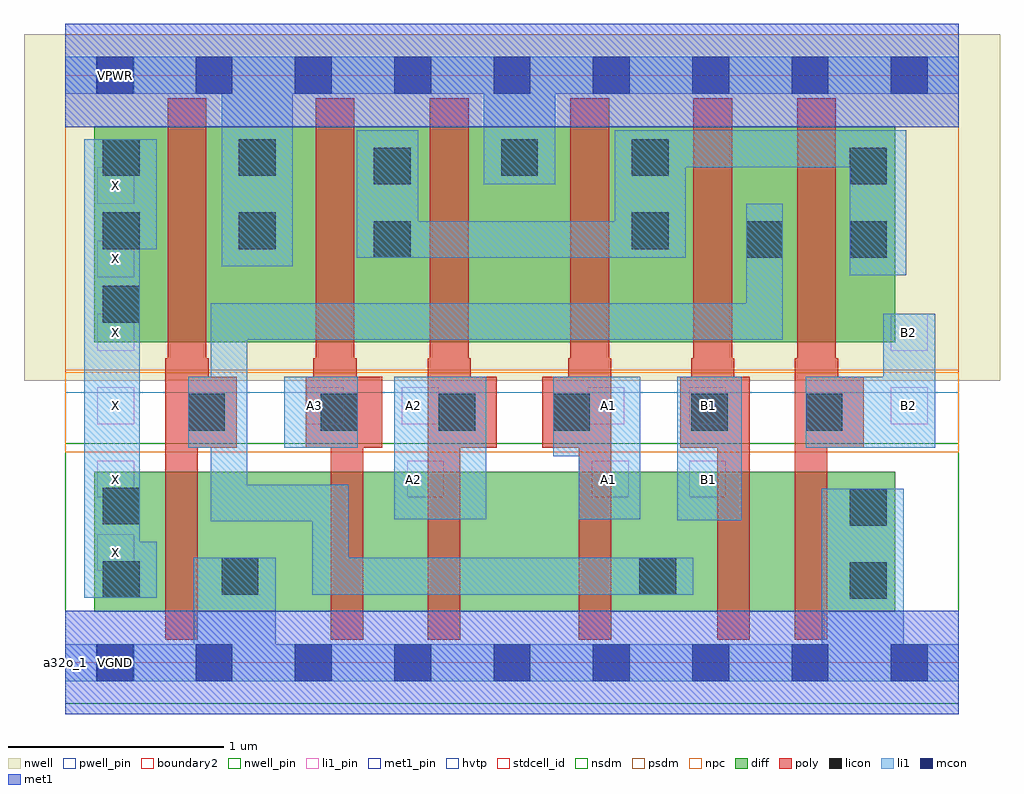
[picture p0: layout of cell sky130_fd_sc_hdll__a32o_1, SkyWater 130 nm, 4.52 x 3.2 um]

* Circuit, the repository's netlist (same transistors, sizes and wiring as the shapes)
* Copyright 2020 The SkyWater PDK Authors
*
* Licensed under the Apache License, Version 2.0 (the "License");
* you may not use this file except in compliance with the License.
* You may obtain a copy of the License at
*
*     https://www.apache.org/licenses/LICENSE-2.0
*
* Unless required by applicable law or agreed to in writing, software
* distributed under the License is distributed on an "AS IS" BASIS,
* WITHOUT WARRANTIES OR CONDITIONS OF ANY KIND, either express or implied.
* See the License for the specific language governing permissions and
* limitations under the License.
*
* SPDX-License-Identifier: Apache-2.0

.SUBCKT sky130_fd_sc_hdll__a32o_1 A1 A2 A3 B1 B2 VGND VNB VPB VPWR X
*.PININFO A1:I A2:I A3:I B1:I B2:I VGND:I VNB:I VPB:I VPWR:I X:O
MMPA0 pndA A1 VPWR VPB sky130_fd_pr__pfet_01v8_hvt m=1 w=1.0U l=0.18U mult=1 sa=0.265
+ sb=0.265 sd=0.28 area=0.063 perim=1.14
MMPA1 pndA A2 VPWR VPB sky130_fd_pr__pfet_01v8_hvt m=1 w=1.0U l=0.18U mult=1 sa=0.265
+ sb=0.265 sd=0.28 area=0.063 perim=1.14
MMPA2 pndA A3 VPWR VPB sky130_fd_pr__pfet_01v8_hvt m=1 w=1.0U l=0.18U mult=1 sa=0.265
+ sb=0.265 sd=0.28 area=0.063 perim=1.14
MMPB0 y B1 pndA VPB sky130_fd_pr__pfet_01v8_hvt m=1 w=1.0U l=0.18U mult=1 sa=0.265
+ sb=0.265 sd=0.28 area=0.063 perim=1.14
MMPB1 y B2 pndA VPB sky130_fd_pr__pfet_01v8_hvt m=1 w=1.0U l=0.18U mult=1 sa=0.265
+ sb=0.265 sd=0.28 area=0.063 perim=1.14
MMIPX X y VPWR VPB sky130_fd_pr__pfet_01v8_hvt m=1 w=1.0U l=0.18U mult=1 sa=0.265
+ sb=0.265 sd=0.28 area=0.063 perim=1.14
MMNA0 y A1 sndA1 VNB sky130_fd_pr__nfet_01v8 m=1 w=0.65U l=0.15U mult=1 sa=0.265
+ sb=0.265 sd=0.28 area=0.063 perim=1.14
MMNA1 sndA1 A2 sndA2 VNB sky130_fd_pr__nfet_01v8 m=1 w=0.65U l=0.15U mult=1 sa=0.265
+ sb=0.265 sd=0.28 area=0.063 perim=1.14
MMNA2 sndA2 A3 VGND VNB sky130_fd_pr__nfet_01v8 m=1 w=0.65U l=0.15U mult=1 sa=0.265
+ sb=0.265 sd=0.28 area=0.063 perim=1.14
MMNB0 y B1 sndB1 VNB sky130_fd_pr__nfet_01v8 m=1 w=0.65U l=0.15U mult=1 sa=0.265
+ sb=0.265 sd=0.28 area=0.063 perim=1.14
MMNB1 sndB1 B2 VGND VNB sky130_fd_pr__nfet_01v8 m=1 w=0.65U l=0.15U mult=1 sa=0.265
+ sb=0.265 sd=0.28 area=0.063 perim=1.14
MMINX X y VGND VNB sky130_fd_pr__nfet_01v8 m=1 w=0.65U l=0.15U mult=1 sa=0.265
+ sb=0.265 sd=0.28 area=0.063 perim=1.14
.ENDS sky130_fd_sc_hdll__a32o_1

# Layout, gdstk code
import gdstk
lib = gdstk.Library(unit=1e-6, precision=1e-09)
def R(c, l, rs):  # rectangles x0, y0, x1, y1
    for r in rs: c.add(gdstk.rectangle(r[:2], r[2:], *l))
def A(c, l, x, y, w, h, nx, ny, dx, dy):  # array of equal rectangles
    R(c, l, [(x+i*dx, y+j*dy, x+i*dx+w, y+j*dy+h) for i in range(nx) for j in range(ny)])
def P(c, l, *ps):  # polygons
    for p in ps: c.add(gdstk.Polygon(p, *l))
nwell_pin = (64, 16)
nwell = (64, 20)
diff = (65, 20)
poly = (66, 20)
licon = (66, 44)
li1_pin = (67, 16)
li1 = (67, 20)
mcon = (67, 44)
met1_pin = (68, 16)
met1 = (68, 20)
hvtp = (78, 44)
stdcell_id = (81, 4)
nsdm = (93, 44)
psdm = (94, 20)
npc = (95, 20)
pwell_pin = (122, 16)
boundary2 = (236, 0)

sky130_fd_sc_hdll__a32o_ = lib.new_cell('sky130_fd_sc_hdll__a32o_1')
R(sky130_fd_sc_hdll__a32o_, nwell_pin, [(0.15,2.635,0.32,2.805)])
R(sky130_fd_sc_hdll__a32o_, nwell, [(-0.19,1.305,4.33,2.91)])
R(sky130_fd_sc_hdll__a32o_, diff, [(0.135,0.235,3.845,0.885), (0.135,1.485,3.845,2.485)])
P(sky130_fd_sc_hdll__a32o_, poly, [(0.795,1.325),(0.665,1.325),(0.665,1.41),(0.655,1.41),(0.655,2.615),(0.475,2.615),(0.475,1.41),(0.465,1.41),(0.465,0.105),(0.615,0.105),(0.615,0.995),(0.795,0.995)],
  [(1.47,1.325),(1.35,1.325),(1.35,1.41),(1.34,1.41),(1.34,2.615),(1.16,2.615),(1.16,1.41),(1.15,1.41),(1.15,1.325),(1.115,1.325),(1.115,0.995),(1.23,0.995),(1.23,0.105),(1.38,0.105),(1.38,0.995),(1.47,0.995)],
  [(2,1.325),(1.88,1.325),(1.88,1.41),(1.87,1.41),(1.87,2.615),(1.69,2.615),(1.69,1.41),(1.68,1.41),(1.68,0.105),(1.83,0.105),(1.83,0.995),(2,0.995)],
  [(2.53,1.41),(2.52,1.41),(2.52,2.615),(2.34,2.615),(2.34,1.41),(2.33,1.41),(2.33,1.325),(2.21,1.325),(2.21,0.995),(2.38,0.995),(2.38,0.105),(2.53,0.105)],
  [(3.17,1.325),(3.1,1.325),(3.1,1.41),(3.09,1.41),(3.09,2.615),(2.91,2.615),(2.91,1.41),(2.9,1.41),(2.9,1.325),(2.85,1.325),(2.85,0.995),(3.02,0.995),(3.02,0.105),(3.17,0.105)],
  [(3.7,1.325),(3.58,1.325),(3.58,1.41),(3.57,1.41),(3.57,2.615),(3.39,2.615),(3.39,1.41),(3.38,1.41),(3.38,0.105),(3.53,0.105),(3.53,0.995),(3.7,0.995)])
A(sky130_fd_sc_hdll__a32o_, licon, 0.175, 1.575, 0.17, 0.17, 1, 3, 0, 0.34)
R(sky130_fd_sc_hdll__a32o_, licon, [(3.635,0.295,3.805,0.465), (0.175,0.3,0.345,0.47), (0.725,0.315,0.895,0.485), (2.66,0.315,2.83,0.485), (3.635,0.635,3.805,0.805), (0.175,0.64,0.345,0.81), (0.57,1.075,0.74,1.245), (1.185,1.075,1.355,1.245), (1.73,1.075,1.9,1.245), (2.26,1.075,2.43,1.245), (2.9,1.075,3.07,1.245), (3.43,1.075,3.6,1.245), (1.43,1.875,1.6,2.045), (3.155,1.875,3.325,2.045), (3.635,1.875,3.805,2.045), (0.805,1.915,0.975,2.085), (2.625,1.915,2.795,2.085), (1.43,2.215,1.6,2.385), (3.635,2.215,3.805,2.385), (0.805,2.255,0.975,2.425), (2.02,2.255,2.19,2.425), (2.625,2.255,2.795,2.425)])
A(sky130_fd_sc_hdll__a32o_, li1_pin, 0.15, 0.425, 0.17, 0.17, 1, 6, 0, 0.34)
R(sky130_fd_sc_hdll__a32o_, li1_pin, [(1.585,0.765,1.755,0.935), (2.44,0.765,2.61,0.935), (2.89,0.765,3.06,0.935), (1.12,1.105,1.29,1.275), (1.56,1.105,1.73,1.275), (2.42,1.105,2.59,1.275), (2.89,1.105,3.06,1.275), (3.825,1.105,3.995,1.275), (3.825,1.445,3.995,1.615)])
R(sky130_fd_sc_hdll__a32o_, li1, [(2.835,0.66,3.135,1.325), (1.525,0.665,1.95,1.325), (1.015,0.995,1.355,1.325)])
P(sky130_fd_sc_hdll__a32o_, li1, [(0.425,0.56),(0.345,0.56),(0.345,1.915),(0.425,1.915),(0.425,2.425),(0.09,2.425),(0.09,0.3),(0.425,0.3)],
  [(4.03,1.615),(3.79,1.615),(3.79,1.325),(3.43,1.325),(3.43,0.995),(4.03,0.995)],
  [(3.325,2.125),(3.155,2.125),(3.155,1.665),(0.675,1.665),(0.675,1.325),(0.57,1.325),(0.57,0.995),(0.675,0.995),(0.675,0.655),(1.145,0.655),(1.145,0.315),(2.91,0.315),(2.91,0.485),(1.315,0.485),(1.315,0.825),(0.845,0.825),(0.845,1.495),(3.325,1.495)],
  [(4.14,2.805),(0,2.805),(0,2.635),(0.725,2.635),(0.725,1.835),(1.055,1.835),(1.055,2.635),(1.94,2.635),(1.94,2.215),(2.27,2.215),(2.27,2.635),(4.14,2.635)],
  [(4.14,0.085),(3.885,0.085),(3.885,0.805),(3.505,0.805),(3.505,0.085),(0.975,0.085),(0.975,0.485),(0.595,0.485),(0.595,0.085),(0,0.085),(0,-0.085),(4.14,-0.085)],
  [(3.895,2.465),(2.545,2.465),(2.545,2.045),(1.635,2.045),(1.635,2.465),(1.35,2.465),(1.35,1.875),(2.875,1.875),(2.875,2.295),(3.635,2.295),(3.635,1.795),(3.895,1.795)],
  [(2.665,1.325),(2.26,1.325),(2.26,0.955),(2.38,0.955),(2.38,0.665),(2.665,0.665)])
A(sky130_fd_sc_hdll__a32o_, mcon, 0.145, -0.085, 0.17, 0.17, 9, 2, 0.46, 2.72)
R(sky130_fd_sc_hdll__a32o_, met1_pin, [(0.15,-0.085,0.32,0.085), (0.15,2.635,0.32,2.805)])
R(sky130_fd_sc_hdll__a32o_, met1, [(0,-0.24,4.14,0.24), (0,2.48,4.14,2.96)])
R(sky130_fd_sc_hdll__a32o_, hvtp, [(0,1.25,4.14,2.72)])
R(sky130_fd_sc_hdll__a32o_, stdcell_id, [(0,0,4.14,2.72)])
R(sky130_fd_sc_hdll__a32o_, nsdm, [(0,-0.19,4.14,1.015)])
R(sky130_fd_sc_hdll__a32o_, psdm, [(0,1.355,4.14,2.91)])
R(sky130_fd_sc_hdll__a32o_, npc, [(0,0.975,4.14,1.345)])
R(sky130_fd_sc_hdll__a32o_, pwell_pin, [(0.15,-0.085,0.32,0.085)])
R(sky130_fd_sc_hdll__a32o_, boundary2, [(0,0,4.14,2.72)])
sky130_fd_sc_hdll__a32o_.add(gdstk.Label('X', (0.235,0.51), layer=67, texttype=5))
sky130_fd_sc_hdll__a32o_.add(gdstk.Label('X', (0.235,0.85), layer=67, texttype=5))
sky130_fd_sc_hdll__a32o_.add(gdstk.Label('X', (0.235,1.53), layer=67, texttype=5))
sky130_fd_sc_hdll__a32o_.add(gdstk.Label('X', (0.235,1.87), layer=67, texttype=5))
sky130_fd_sc_hdll__a32o_.add(gdstk.Label('X', (0.235,2.21), layer=67, texttype=5))
sky130_fd_sc_hdll__a32o_.add(gdstk.Label('A3', (1.155,1.19), layer=67, texttype=5))
sky130_fd_sc_hdll__a32o_.add(gdstk.Label('B2', (3.905,1.19), layer=67, texttype=5))
sky130_fd_sc_hdll__a32o_.add(gdstk.Label('B1', (2.98,0.85), layer=67, texttype=5))
sky130_fd_sc_hdll__a32o_.add(gdstk.Label('A1', (2.515,0.85), layer=67, texttype=5))
sky130_fd_sc_hdll__a32o_.add(gdstk.Label('A1', (2.515,1.19), layer=67, texttype=5))
sky130_fd_sc_hdll__a32o_.add(gdstk.Label('A2', (1.615,1.19), layer=67, texttype=5))
sky130_fd_sc_hdll__a32o_.add(gdstk.Label('B1', (2.98,1.19), layer=67, texttype=5))
sky130_fd_sc_hdll__a32o_.add(gdstk.Label('B2', (3.905,1.53), layer=67, texttype=5))
sky130_fd_sc_hdll__a32o_.add(gdstk.Label('A2', (1.615,0.85), layer=67, texttype=5))
sky130_fd_sc_hdll__a32o_.add(gdstk.Label('X', (0.235,1.19), layer=67, texttype=5))
sky130_fd_sc_hdll__a32o_.add(gdstk.Label('VGND', (0.235,0), layer=68, texttype=5))
sky130_fd_sc_hdll__a32o_.add(gdstk.Label('VPWR', (0.235,2.72), layer=68, texttype=5))
sky130_fd_sc_hdll__a32o_.add(gdstk.Label('VPB', (0.235,2.72), layer=64, texttype=5))
sky130_fd_sc_hdll__a32o_.add(gdstk.Label('VNB', (0.235,0), layer=64, texttype=59))
sky130_fd_sc_hdll__a32o_.add(gdstk.Label('a32o_1', (0,0), layer=83, texttype=44))

lib.write_gds('sky130_fd_sc_hdll__a32o_1.gds')
